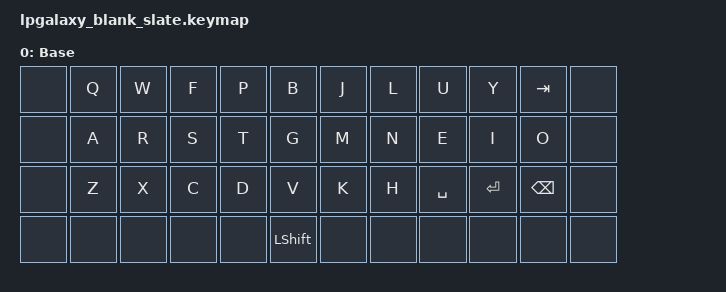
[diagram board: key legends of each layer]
/*
 * Copyright (c) 2022 Pete Johanson
 *
 * SPDX-License-Identifier: MIT
 */

#include <behaviors.dtsi>
#include <dt-bindings/zmk/keys.h>
#include <dt-bindings/zmk/bt.h>
#include <dt-bindings/zmk/outputs.h>

/ {
    chosen {
        zmk,physical-layout = &layout_ortho_4x12_all1u;
    };

    keymap {
        compatible = "zmk,keymap";

        base_layer {
            label = "Base";
            bindings = <
                &none  &kp Q  &kp W  &kp F  &kp P  &kp B       &kp J  &kp L  &kp U      &kp Y    &kp TAB  &none
                &none  &kp A  &kp R  &kp S  &kp T  &kp G       &kp M  &kp N  &kp E      &kp I    &kp O     &none
                &none  &kp Z  &kp X  &kp C  &kp D  &kp V       &kp K  &kp H  &kp SPACE  &kp RET  &kp BSPC   &none
                &none  &none  &none  &none  &none  &kp LSHIFT  &none  &none  &none      &none    &none     &none
            >;
        };
    };
};
